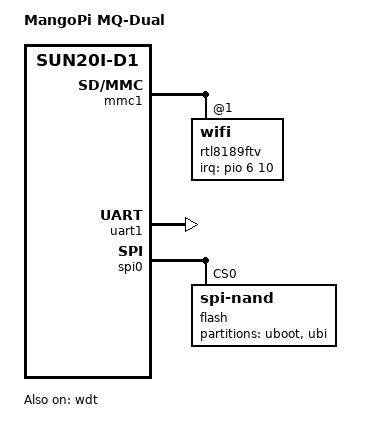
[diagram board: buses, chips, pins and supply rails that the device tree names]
// SPDX-License-Identifier: (GPL-2.0+ or MIT)
// Copyright (C) 2022 Samuel Holland <samuel@sholland.org>

/dts-v1/;

#include <dt-bindings/gpio/gpio.h>
#include "allwinner/sun8i-t113s.dtsi"
#include "allwinner/sunxi-d1s-t113-mangopi-mq-r.dtsi"

/ {
	model = "MangoPi MQ-Dual";
	compatible = "allwinner,sun20i-d1", "allwinner,sun8i";

	uboot,fastboot-led = "PD22";

	aliases {
		serial0 = &uart0;
		serial1 = &uart1;
		serial2 = &uart2;
		serial3 = &uart3;
		ethernet0 = &rtl8189ftv;
	};

	chosen {
		#address-cells = <1>;
		#size-cells = <1>;
		ranges;

		/delete-property/ stdout-path;

		framebuffer-lcd0 {
			compatible = "allwinner,simple-framebuffer","simple-framebuffer";
			allwinner,pipeline = "mixer0-lcd0";
			clocks = <&ccu CLK_BUS_DE>,<&ccu CLK_DE>,
				<&display_clocks CLK_BUS_MIXER0>,
				<&display_clocks CLK_MIXER0>,
				<&ccu CLK_BUS_DPSS_TOP>,
				<&ccu CLK_TCON_TV>,
				<&ccu CLK_TVE>,
				<&ccu CLK_TCON_LCD0>,
				<&ccu CLK_BUS_TCON_LCD0>,
				<&ccu CLK_TCON_LCD0>;
			status = "disabled";
		};
	};

	/delete-node/ leds;

};

&cpu0 {
        cpu-supply = <&reg_vcc_core>;
};

&cpu1 {
        cpu-supply = <&reg_vcc_core>;
};

&mmc1 {
        rtl8189ftv: wifi@1 {
                reg = <1>;
                interrupt-parent = <&pio>;
                interrupts = <6 10 IRQ_TYPE_LEVEL_LOW>; /* PG10 = WL_WAKE_AP */
                interrupt-names = "host-wake";
        };
};

&pio {
	i2s2_pins: i2s-pins {
		pins = "PB5", "PB6", "PB7";
		function = "i2s2";
	};

	i2s2_din_pins: i2s-din-pins {
		pins = "PB2", "PB3";
		function = "i2s2_din";
	};

	i2c2_pe12_pins: i2c2-pe12-pins {
		pins = "PE12", "PE13";
		function = "i2c2";
	};

	pwm7_pd22_pin: pwm7-pd22-pin {
		pins = "PD22";
		function = "pwm7";
	};

	uart2_pd1_pins: uart2-pd1-pins {
		pins = "PD1", "PD2";
		function = "uart2";
	};
};

&uart0 {
	status = "disabled";
	/delete-node/ pinctrl-0;
	/delete-node/ pinctrl-names;
};

&uart1 {
	/* XR829/RTL8723bs/RTL8189fs bluetooth is connected here */
	status = "okay";
	pinctrl-0 = <&uart1_pg6_pins>;
	pinctrl-names = "default";
};

&uart2 {
	/* The default UART for Linux I/O */
	status = "disabled";
	pinctrl-0 = <&uart2_pd1_pins>;
	pinctrl-names = "default";
};

&uart3 {
	/* It interferes with the work of i2s2 */
	status = "disabled";
	/delete-node/ pinctrl-0;
	/delete-node/ pinctrl-names;
};

&spi0 {
	pinctrl-0 = <&spi0_pins>;
	pinctrl-names = "default";
	status = "okay";

	flash@0 {
		compatible = "spi-nand";
		reg = <0>;

		partitions {
			compatible = "fixed-partitions";
			#address-cells = <1>;
			#size-cells = <1>;

			partition@0 {
				label = "uboot";
				reg = <0x00000000 0x00080000>;
			};

			partition@80000 {
				label = "ubi";
				reg = <0x00080000 0x0fb00000>;
			};
		};
	};
};

&wdt {
	status = "okay";
};
